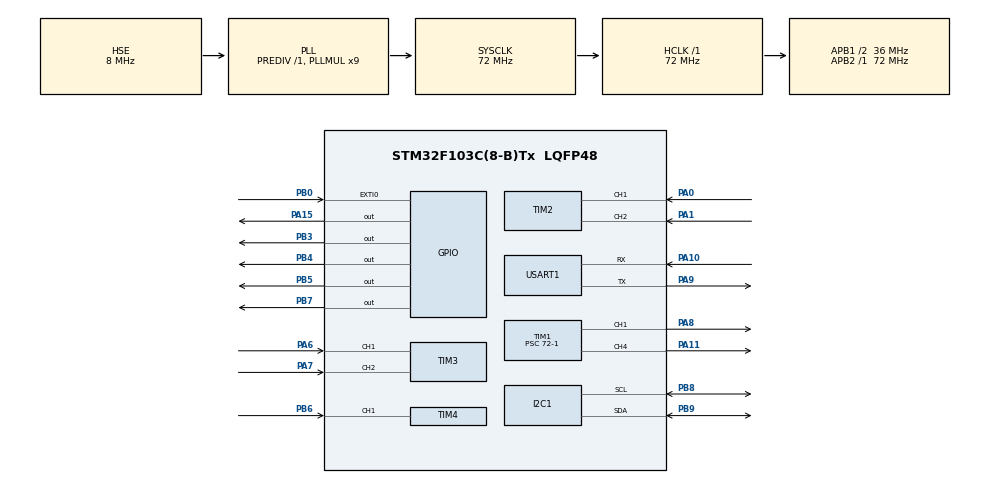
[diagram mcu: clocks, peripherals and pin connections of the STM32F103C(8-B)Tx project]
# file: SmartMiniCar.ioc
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Mcu.Family=STM32F1
Mcu.Name=STM32F103C(8-B)Tx
Mcu.Package=LQFP48
NVIC.EXTI0_IRQn=true\:0\:0\:false\:false\:true\:true\:true\:true
NVIC.PriorityGroup=NVIC_PRIORITYGROUP_4
NVIC.TIM4_IRQn=true\:0\:0\:false\:false\:true\:true\:true\:true
NVIC.USART1_IRQn=true\:0\:0\:false\:false\:true\:true\:true\:true
PA0-WKUP.Signal=S_TIM2_CH1_ETR
PA1.Signal=S_TIM2_CH2
PA10.Mode=Asynchronous
PA10.Signal=USART1_RX
PA11.Signal=S_TIM1_CH4
PA13.Mode=Serial_Wire
PA13.Signal=SYS_JTMS-SWDIO
PA14.Mode=Serial_Wire
PA14.Signal=SYS_JTCK-SWCLK
PA15.Signal=GPIO_Output
PA6.Signal=S_TIM3_CH1
PA7.Signal=S_TIM3_CH2
PA8.Signal=S_TIM1_CH1
PA9.Mode=Asynchronous
PA9.Signal=USART1_TX
PB0.GPIO_ModeDefaultEXTI=GPIO_MODE_IT_FALLING
PB0.Signal=GPXTI0
PB3.Signal=GPIO_Output
PB4.Signal=GPIO_Output
PB5.Signal=GPIO_Output
PB6.Signal=S_TIM4_CH1
PB7.Signal=GPIO_Output
PB8.Mode=I2C
PB8.Signal=I2C1_SCL
PB9.Mode=I2C
PB9.Signal=I2C1_SDA
PC14-OSC32_IN.Mode=LSE-External-Oscillator
PC14-OSC32_IN.Signal=RCC_OSC32_IN
PC15-OSC32_OUT.Mode=LSE-External-Oscillator
PC15-OSC32_OUT.Signal=RCC_OSC32_OUT
PD0-OSC_IN.Mode=HSE-External-Oscillator
PD0-OSC_IN.Signal=RCC_OSC_IN
PD1-OSC_OUT.Mode=HSE-External-Oscillator
PD1-OSC_OUT.Signal=RCC_OSC_OUT
ProjectManager.HeapSize=0x200
ProjectManager.StackSize=0x400
ProjectManager.TargetToolchain=MDK-ARM V5.32
RCC.AHBFreq_Value=72000000
RCC.APB1CLKDivider=RCC_HCLK_DIV2
RCC.APB1Freq_Value=36000000
RCC.APB1TimFreq_Value=72000000
RCC.APB2Freq_Value=72000000
RCC.APB2TimFreq_Value=72000000
RCC.HCLKFreq_Value=72000000
RCC.PLLMUL=RCC_PLL_MUL9
RCC.PLLSourceVirtual=RCC_PLLSOURCE_HSE
RCC.SYSCLKFreq_VALUE=72000000
RCC.SYSCLKSource=RCC_SYSCLKSOURCE_PLLCLK
RCC.USBFreq_Value=72000000
SH.S_TIM1_CH1.0=TIM1_CH1,PWM Generation1 CH1
SH.S_TIM1_CH4.0=TIM1_CH4,PWM Generation4 CH4
SH.S_TIM2_CH1_ETR.0=TIM2_CH1,Encoder_Interface
SH.S_TIM2_CH2.0=TIM2_CH2,Encoder_Interface
SH.S_TIM3_CH1.0=TIM3_CH1,Encoder_Interface
SH.S_TIM3_CH2.0=TIM3_CH2,Encoder_Interface
SH.S_TIM4_CH1.0=TIM4_CH1,Input_Capture1_from_TI1
TIM1.Channel-PWM\ Generation1\ CH1=TIM_CHANNEL_1
TIM1.Channel-PWM\ Generation4\ CH4=TIM_CHANNEL_4
TIM1.Period=100-1
TIM1.Prescaler=72-1
TIM1.Pulse-PWM\ Generation1\ CH1=50
TIM1.Pulse-PWM\ Generation4\ CH4=10
TIM2.IC2Polarity=TIM_ICPOLARITY_RISING
TIM4.Channel-Input_Capture1_from_TI1=TIM_CHANNEL_1
TIM4.Channel-Input_Capture2_from_TI1_63=TIM_CHANNEL_2
TIM4.ICPolarity_CH2=TIM_INPUTCHANNELPOLARITY_FALLING
TIM4.Prescaler=72-1
USART1.VirtualMode=VM_ASYNC
VP_TIM1_VS_ClockSourceINT.Mode=Internal
VP_TIM4_VS_ClockSourceINT.Mode=Internal
VP_TIM4_VS_indirect_ch1.Mode=Input_Capture2_from_TI1_63
board=custom

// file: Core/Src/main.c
/* USER CODE BEGIN Header */
/**
 ******************************************************************************
 * @file           : main.c
 * @brief          : Main program body
 ******************************************************************************
 * @attention
 *
 * Copyright (c) 2026 STMicroelectronics.
 * All rights reserved.
 *
 * This software is licensed under terms that can be found in the LICENSE file
 * in the root directory of this software component.
 * If no LICENSE file comes with this software, it is provided AS-IS.
 *
 ******************************************************************************
 */
/* USER CODE END Header */
#include "main.h"
#include "i2c.h"
#include "tim.h"
#include "usart.h"
#include "gpio.h"

/* USER CODE BEGIN Includes */
#include <stdio.h>
#include <string.h>
#include "encoder.h"
#include "hall.h"
#include "motor.h"
#include "hcsr04.h"
#include "ssd1306.h"
/* USER CODE END Includes */

/* USER CODE BEGIN PD */
#define UART_COMMAND_MAX_LEN 64

/* USER CODE END PD */

/* USER CODE BEGIN PV */
static uint8_t uart_rx_byte;
static char uart_rx_line[UART_COMMAND_MAX_LEN];
static char uart_cmd_line[UART_COMMAND_MAX_LEN];
static volatile uint8_t uart_rx_index = 0;
static volatile uint8_t uart_cmd_ready = 0;

uint32_t hall_tick = 0;
uint32_t encoder_tick = 0;
uint32_t oled_tick = 0;
uint32_t ultrasonic_tick = 0;
char oled_buf[36] = ""; // oled显示

float left_rps = 0.0f;
float right_rps = 0.0f;
float distance_cm = 0.0f;

/* USER CODE END PV */

void SystemClock_Config(void);
/* USER CODE BEGIN PFP */
static void UART_StartReceiveIT(void);

/* USER CODE END PFP */

/* USER CODE BEGIN 0 */
// 串口重定向
int fputc(int ch, FILE *f)
{
  HAL_UART_Transmit(&huart1, (uint8_t *)&ch, 1, HAL_MAX_DELAY);
  return ch;
}

// 启动串口1的中断接收
static void UART_StartReceiveIT(void)
{
  if (HAL_UART_Receive_IT(&huart1, &uart_rx_byte, 1) != HAL_OK)
  {
    Error_Handler();
  }
}

// exti0 中断回调
void HAL_GPIO_EXTI_Callback(uint16_t GPIO_Pin)
{
  Hall_EXTI_Callback(GPIO_Pin);
}

/* USER CODE END 0 */

int main(void)
{

  /* MCU Configuration--------------------------------------------------------*/

  /* Reset of all peripherals, Initializes the Flash interface and the Systick. */
  HAL_Init();

  /* Configure the system clock */
  SystemClock_Config();

  /* Initialize all configured peripherals */
  MX_GPIO_Init();
  MX_I2C1_Init();
  MX_TIM1_Init();
  MX_TIM2_Init();
  MX_TIM3_Init();
  MX_TIM4_Init();
  MX_USART1_UART_Init();
  /* USER CODE BEGIN 2 */
  // 编码器初始化
  Encoder_Init();
  // 超声波测距初始化
  HCSR04_Init();
  // 左右减速电机&驱动模块初始化
  Motor_Init();
  // 配置 USART2 接收中断
  UART_StartReceiveIT();
  printf("UART motor control ready\r\n");
  printf("Commands: STOP | BRAKE | F 60 | B 60 | L 60 | R 60 | RL 60 | RR 60 | M -30 50\r\n");

  if (OLED_Init(&hi2c1) != HAL_OK)
  {
    Error_Handler();
  }
  OLED_Clear();
  /* USER CODE END 2 */

  /* Infinite loop */
  /* USER CODE BEGIN WHILE */
  while (1)
  {
    uint32_t now = HAL_GetTick();

    /*串口命令*/
    if (uart_cmd_ready != 0U)
    {
      char command[UART_COMMAND_MAX_LEN];

      __disable_irq();
      strncpy(command, uart_cmd_line, sizeof(command));
      uart_cmd_ready = 0U;
      __enable_irq();

      printf("recv:%s\r\n", command);

      Motor_ParseCommand(command);
    }

    /*编码器*/
    if ((now - encoder_tick) >= 100)
    {
      encoder_tick = now;

      left_rps = Encoder_GetRPS(ENCODER_LEFT);
      right_rps = Encoder_GetRPS(ENCODER_RIGHT);

      printf("encoder:left_rps=%f,right_rps=%f\r\n", left_rps, right_rps);
    }

    /*霍尔*/
    if ((now - hall_tick) >= 100)
    {
      hall_tick = now;

      printf("hall:PulseCnt=%d,left_rpm=%d,freq=%f\r\n", Hall_GetPulse(), Hall_GetRPM(), Hall_GetRPS());
    }

    /*超声波*/
    if ((now - ultrasonic_tick) >= 50)
    {
      ultrasonic_tick = now;

      HCSR04_Trigger();
      distance_cm = HCSR04_GetDistanceCm();

      printf("dist=%.1fcm\r\n", distance_cm);
    }

    /*OLED显示*/
    if ((now - oled_tick) >= 200)
    {
      oled_tick = now;
      // 左电机编码器(tim2 encoder)
      sprintf(oled_buf, "ML:%5.2f rps", left_rps);
      OLED_ShowString(0, 0, oled_buf, 16, 0);
      // 右电机编码器(tim3 encoder)
      sprintf(oled_buf, "MR:%5.2f rps", right_rps);
      OLED_ShowString(0, 2, oled_buf, 16, 0);
      // 左电机霍尔转速（exti0)
      sprintf(oled_buf, "LH:%5.2f rps", Hall_GetRPS());
      OLED_ShowString(0, 4, oled_buf, 16, 0);
      // 超声波测距(tim3 ic)
      sprintf(oled_buf, "D:%5.1fCM", distance_cm);
      OLED_ShowString(0, 6, oled_buf, 16, 0);
    }

    /* USER CODE END WHILE */

  }
}

void SystemClock_Config(void)
{
  RCC_OscInitTypeDef RCC_OscInitStruct = {0};
  RCC_ClkInitTypeDef RCC_ClkInitStruct = {0};

  /** Initializes the RCC Oscillators according to the specified parameters
   * in the RCC_OscInitTypeDef structure.
   */
  RCC_OscInitStruct.OscillatorType = RCC_OSCILLATORTYPE_HSE;
  RCC_OscInitStruct.HSEState = RCC_HSE_ON;
  RCC_OscInitStruct.HSEPredivValue = RCC_HSE_PREDIV_DIV1;
  RCC_OscInitStruct.HSIState = RCC_HSI_ON;
  RCC_OscInitStruct.PLL.PLLState = RCC_PLL_ON;
  RCC_OscInitStruct.PLL.PLLSource = RCC_PLLSOURCE_HSE;
  RCC_OscInitStruct.PLL.PLLMUL = RCC_PLL_MUL9;
  if (HAL_RCC_OscConfig(&RCC_OscInitStruct) != HAL_OK)
  {
    Error_Handler();
  }

  /** Initializes the CPU, AHB and APB buses clocks
   */
  RCC_ClkInitStruct.ClockType = RCC_CLOCKTYPE_HCLK | RCC_CLOCKTYPE_SYSCLK | RCC_CLOCKTYPE_PCLK1 | RCC_CLOCKTYPE_PCLK2;
  RCC_ClkInitStruct.SYSCLKSource = RCC_SYSCLKSOURCE_PLLCLK;
  RCC_ClkInitStruct.AHBCLKDivider = RCC_SYSCLK_DIV1;
  RCC_ClkInitStruct.APB1CLKDivider = RCC_HCLK_DIV2;
  RCC_ClkInitStruct.APB2CLKDivider = RCC_HCLK_DIV1;

  if (HAL_RCC_ClockConfig(&RCC_ClkInitStruct, FLASH_LATENCY_2) != HAL_OK)
  {
    Error_Handler();
  }
}

/* USER CODE BEGIN 4 */
void HAL_UART_RxCpltCallback(UART_HandleTypeDef *huart)
{
  if (huart->Instance == USART1)
  {
    if ((uart_rx_byte == '\r') || (uart_rx_byte == '\n'))
    {
      if (uart_rx_index > 0U)
      {
        uart_rx_line[uart_rx_index] = '\0';
        if (uart_cmd_ready == 0U)
        {
          strncpy(uart_cmd_line, uart_rx_line, UART_COMMAND_MAX_LEN);
          uart_cmd_ready = 1U;
        }
        uart_rx_index = 0U;
      }
    }
    else if (uart_rx_index < (UART_COMMAND_MAX_LEN - 1U))
    {
      uart_rx_line[uart_rx_index++] = (char)uart_rx_byte;
    }
    else
    {
      uart_rx_index = 0U;
    }

    // 继续接收
    HAL_UART_Receive_IT(&huart1, &uart_rx_byte, 1);
  }
}

void HAL_UART_ErrorCallback(UART_HandleTypeDef *huart)
{
  if (huart->Instance == USART1)
  {
    uart_rx_index = 0U;
    UART_StartReceiveIT();
  }
}

/* USER CODE END 4 */

void Error_Handler(void)
{
  __disable_irq();
  while (1)
  {
  }
}
